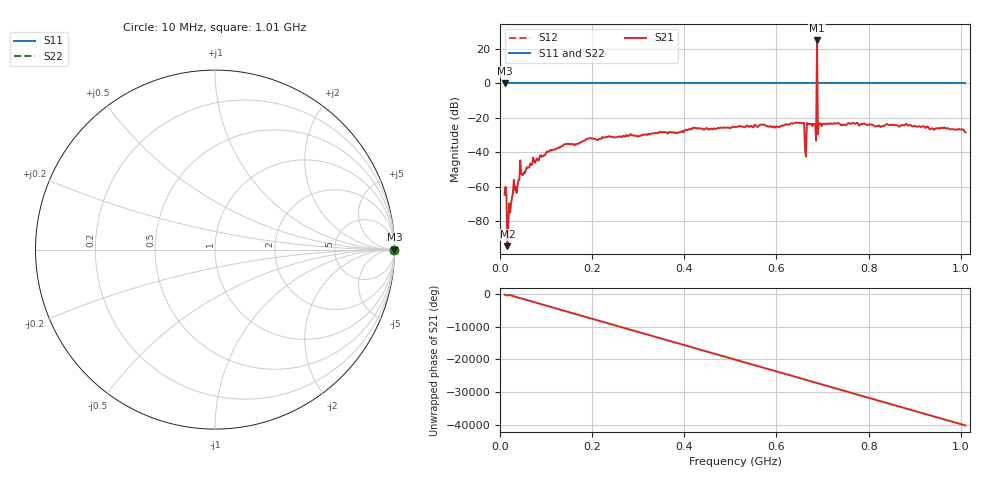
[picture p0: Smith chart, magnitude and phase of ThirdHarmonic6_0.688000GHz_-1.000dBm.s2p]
! 8/15/2025 10:58:43 PM
! C:\ANRITSUVNA\TEMP\TEMP.S2P
! CHANNEL.1
! TR.MEASUREMENT
! RAW.DATA
! RF.CORRECTION.OFF
! AVERAGING.OFF
! IF.BANDWIDTH: 5KHZ
! SWEEPTYPE:  FREQ.SWEEP(Linear)
! Reference Plane Port Info
! PORT:  PORT1  PORT2
! DISTANCE:  0  m  0  m
! TIME:  0  s  0  s
! PHASE.OFFSET:  0  deg.  0  deg.
! LOSS:  0  dB  0  dB
! REF.LOSS:  0  dB  0  dB
! REF.FREQ:  0  Hz  0  Hz
! Power Info
! POWER:  -20  dBm  -20  dBm
! EFF.POWER:  -20  dBm  -20  dBm
! SOURCE.ATTEN:  0  dB  0  dB
! TEST.ATTEN:  0  dB  0  dB
# GHZ S RI R 50.0
! FREQ.GHZ  S11RE  S11IM  S21RE  S21IM  S12RE  S12IM  S22RE  S22IM
!; PortSelection: Port_12
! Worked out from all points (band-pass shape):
!   501 points, 10 MHz to 1.01 GHz, reference 50 ohm
!   highest |S21| = 24.70 dB at 688 MHz (marker M1); lowest = -94.3 dB at 16 MHz (marker M2)
!   |S21| within 3 dB of the highest: 687.8967 MHz to 688.1102 MHz (213.5 kHz wide, 0.031 % of centre)
!   lowest |S11| = 0.0 dB at 10 MHz (marker M3)
!   |S11| at or under -10 dB: nowhere
!   |S22| runs from 0.0 to 0.0 dB; largest |S21 - S12| = 18
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0.01  1 0  -0.000297 -0.000513  1 0  1 0
0.016  1 0  1.91e-05 1.8e-06  1 0  1 0
0.02  1 0  -0.000249 0.000217  1 0  1 0
0.03  1 0  0.000624 0.00148  1 0  1 0
0.038  1 0  -0.000635 0.000848  1 0  1 0
0.044  1 0  -0.00372 -0.00449  1 0  1 0
0.07  1 0  -0.00177 -0.00421  1 0  1 0
0.178  1 0  -0.0201 -0.00273  1 0  1 0
0.344  1 0  0.0331 -0.0145  1 0  1 0
0.51  1 0  -0.0332 0.0427  1 0  1 0
0.656  1 0  0.0691 -0.00198  1 0  1 0
0.66  1 0  -0.0668 -0.0203  1 0  1 0
0.666  1 0  0.0489 -0.0505  1 0  1 0
0.67  1 0  -0.0568 0.0296  1 0  1 0
0.678  1 0  -0.0551 -0.0148  1 0  1 0
0.682  1 0  0.0571 0.0312  1 0  1 0
0.684  1 0  0.0414 -0.0521  1 0  1 0
0.688  1 0  -11.37 12.88  1 0  1 0
0.692  1 0  0.0659 -0.019  1 0  1 0
0.694  1 0  -0.00827 -0.067  1 0  1 0
0.844  1 0  0.0531 -0.031  1 0  1 0
1.01  1 0  -0.0157 0.0343  1 0  1 0
